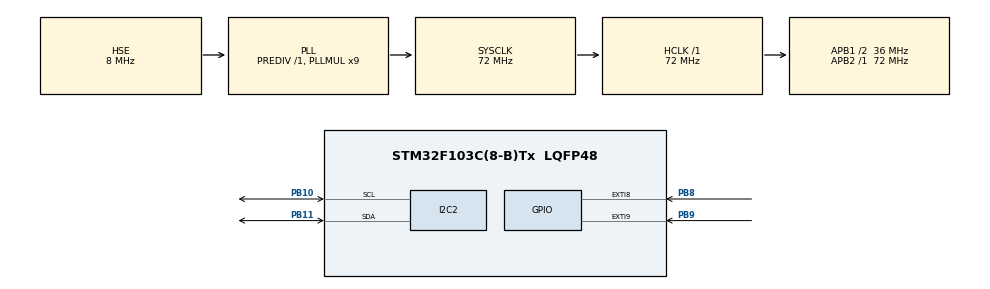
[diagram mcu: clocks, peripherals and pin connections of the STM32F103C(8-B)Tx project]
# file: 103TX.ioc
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Mcu.Family=STM32F1
RCC.PLLSourceVirtual=RCC_PLLSOURCE_HSE
PD1-OSC_OUT.Mode=HSE-External-Oscillator
PB10.Mode=I2C
PD0-OSC_IN.Signal=RCC_OSC_IN
RCC.APB1CLKDivider=RCC_HCLK_DIV2
PB11.Signal=I2C2_SDA
RCC.SYSCLKSource=RCC_SYSCLKSOURCE_PLLCLK
ProjectManager.StackSize=0x400
PD1-OSC_OUT.Signal=RCC_OSC_OUT
PA13.Signal=SYS_JTMS-SWDIO
PB8.GPIO_ModeDefaultEXTI=GPIO_MODE_IT_FALLING
PB11.Mode=I2C
ProjectManager.TargetToolchain=MDK-ARM V5.27
RCC.HCLKFreq_Value=72000000
RCC.APB2TimFreq_Value=72000000
PB9.GPIO_ModeDefaultEXTI=GPIO_MODE_IT_FALLING
RCC.USBFreq_Value=72000000
TIM4.Prescaler=17
RCC.AHBFreq_Value=72000000
PB10.Signal=I2C2_SCL
PD0-OSC_IN.Mode=HSE-External-Oscillator
board=custom
RCC.PLLMUL=RCC_PLL_MUL9
RCC.APB2Freq_Value=72000000
PA14.Mode=Serial_Wire
TIM4.Period=249
PA13.Mode=Serial_Wire
Mcu.Name=STM32F103C(8-B)Tx
RCC.SYSCLKFreq_VALUE=72000000
Mcu.Package=LQFP48
PB9.Signal=GPXTI9
NVIC.EXTI9_5_IRQn=true\:0\:0\:false\:false\:true\:true\:true
PA14.Signal=SYS_JTCK-SWCLK
ProjectManager.HeapSize=0x400
VP_TIM4_VS_ClockSourceINT.Mode=Internal
NVIC.PriorityGroup=NVIC_PRIORITYGROUP_4
RCC.APB1TimFreq_Value=72000000
PB8.Signal=GPXTI8
NVIC.TIM4_IRQn=true\:0\:0\:false\:false\:true\:true\:true
RCC.APB1Freq_Value=36000000

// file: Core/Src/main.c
/* USER CODE BEGIN Header */
/**
  ******************************************************************************
  * @file           : main.c
  * @brief          : Main program body
  ******************************************************************************
  * @attention
  *
  * <h2><center>&copy; Copyright (c) 2020 STMicroelectronics.
  * All rights reserved.</center></h2>
  *
  * This software component is licensed by ST under BSD 3-Clause license,
  * the "License"; You may not use this file except in compliance with the
  * License. You may obtain a copy of the License at:
  *                        opensource.org/licenses/BSD-3-Clause
  *
  ******************************************************************************
  */
/* USER CODE END Header */
#include "main.h"
#include "i2c.h"
#include "tim.h"
#include "gpio.h"

/* USER CODE BEGIN Includes */
#include "bsp_one_line.h"
#include "app_one_line.h"

#include "bsp_oled.h"
/* USER CODE END Includes */

void SystemClock_Config(void);

int main(void)
{

    /* MCU Configuration--------------------------------------------------------*/

    /* Reset of all peripherals, Initializes the Flash interface and the Systick. */
    HAL_Init();

    /* Configure the system clock */
    SystemClock_Config();

    /* Initialize all configured peripherals */
    MX_GPIO_Init();
    MX_TIM4_Init();
    MX_I2C2_Init();
    /* USER CODE BEGIN 2 */
    __HAL_TIM_ENABLE_IT(&htim4, TIM_IT_UPDATE);
    HAL_TIM_Base_Start_IT(&htim4);

    OLED_Init();

    OLED_Fill(0x00);

    one_line_send("1234567890abcdefghijklmn", 24);

	uint8_t ch = 'A';

    /* USER CODE END 2 */

    /* Infinite loop */
    /* USER CODE BEGIN WHILE */
    while (1)
    {
//        OneLineTest();

		OLED_ShowChar(0, 0, ch, 16);
		OLED_ShowChar(0, 2, ch, 12);
		OLED_ShowChar(0, 4, ch, 8);
		OLED_ShowChar(40, 0, ch, 24);

		ch++;
		if(ch > 'z')
		{
			ch = 'A';
		}

		HAL_Delay(300);

//        OLED_DrawBMP(0, 0, 128, 8, qt_image);
//        HAL_Delay(1000);
//        OLED_DrawBMP(0, 0, 128, 8, nvidia_image);
//        HAL_Delay(1000);

        /* USER CODE END WHILE */

    }
}

void SystemClock_Config(void)
{
    RCC_OscInitTypeDef RCC_OscInitStruct = {0};
    RCC_ClkInitTypeDef RCC_ClkInitStruct = {0};

    /** Initializes the RCC Oscillators according to the specified parameters
    * in the RCC_OscInitTypeDef structure.
    */
    RCC_OscInitStruct.OscillatorType = RCC_OSCILLATORTYPE_HSE;
    RCC_OscInitStruct.HSEState = RCC_HSE_ON;
    RCC_OscInitStruct.HSEPredivValue = RCC_HSE_PREDIV_DIV1;
    RCC_OscInitStruct.HSIState = RCC_HSI_ON;
    RCC_OscInitStruct.PLL.PLLState = RCC_PLL_ON;
    RCC_OscInitStruct.PLL.PLLSource = RCC_PLLSOURCE_HSE;
    RCC_OscInitStruct.PLL.PLLMUL = RCC_PLL_MUL9;
    if (HAL_RCC_OscConfig(&RCC_OscInitStruct) != HAL_OK)
    {
        Error_Handler();
    }
    /** Initializes the CPU, AHB and APB buses clocks
    */
    RCC_ClkInitStruct.ClockType = RCC_CLOCKTYPE_HCLK | RCC_CLOCKTYPE_SYSCLK
                                  | RCC_CLOCKTYPE_PCLK1 | RCC_CLOCKTYPE_PCLK2;
    RCC_ClkInitStruct.SYSCLKSource = RCC_SYSCLKSOURCE_PLLCLK;
    RCC_ClkInitStruct.AHBCLKDivider = RCC_SYSCLK_DIV1;
    RCC_ClkInitStruct.APB1CLKDivider = RCC_HCLK_DIV2;
    RCC_ClkInitStruct.APB2CLKDivider = RCC_HCLK_DIV1;

    if (HAL_RCC_ClockConfig(&RCC_ClkInitStruct, FLASH_LATENCY_2) != HAL_OK)
    {
        Error_Handler();
    }
}

void Error_Handler(void)
{
}

/************************ (C) COPYRIGHT STMicroelectronics *****END OF FILE****/
